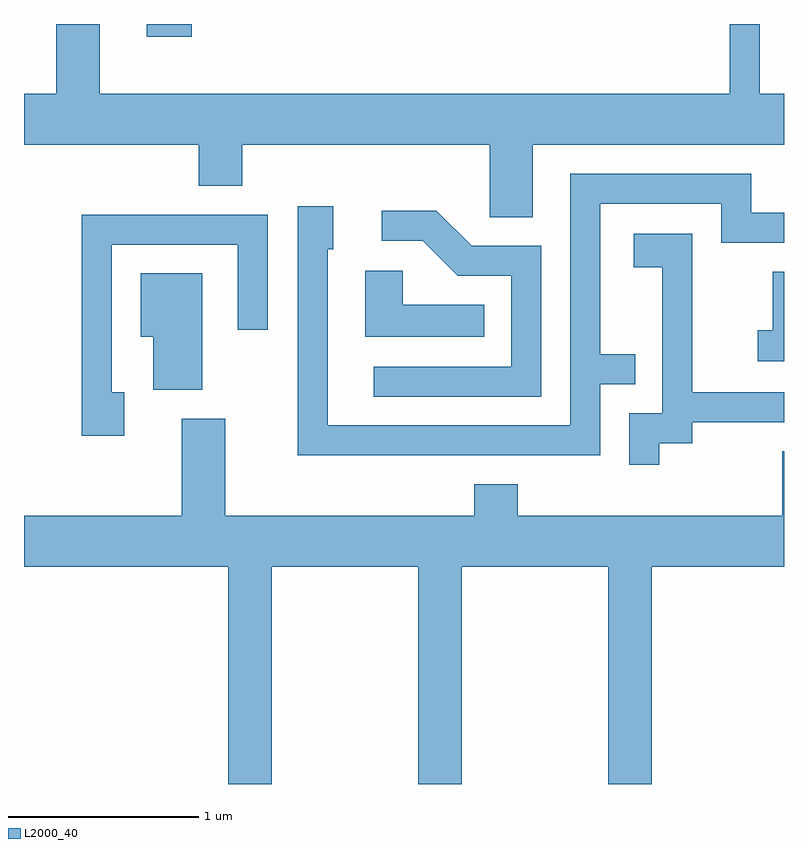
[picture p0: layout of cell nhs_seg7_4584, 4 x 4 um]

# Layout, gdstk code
import gdstk
lib = gdstk.Library(unit=1e-6, precision=1e-09)
def R(c, l, rs):  # rectangles x0, y0, x1, y1
    for r in rs: c.add(gdstk.rectangle(r[:2], r[2:], *l))
def P(c, l, *ps):  # polygons
    for p in ps: c.add(gdstk.Polygon(p, *l))
L2000_40 = (2000, 40)

nhs_seg7_4584 = lib.new_cell('nhs_seg7_4584')
R(nhs_seg7_4584, L2000_40, [(326.256,1748.186,326.494,1748.252)])
P(nhs_seg7_4584, L2000_40, [(328.289,1747.616),(329.611,1747.616),(329.611,1747.884),(329.484,1747.884),(329.484,1748.252),(329.326,1748.252),(329.326,1747.884),(326.009,1747.884),(326.009,1748.252),(325.781,1748.252),(325.781,1747.884),(325.611,1747.884),(325.611,1747.616),(326.531,1747.616),(326.531,1747.401),(326.759,1747.401),(326.759,1747.616),(328.061,1747.616),(328.061,1747.236),(328.289,1747.236)],
  [(328.644,1746.356),(328.828,1746.356),(328.828,1746.514),(328.644,1746.514),(328.644,1747.306),(329.281,1747.306),(329.281,1747.101),(329.611,1747.101),(329.611,1747.259),(329.439,1747.259),(329.439,1747.464),(328.486,1747.464),(328.486,1746.139),(327.209,1746.139),(327.209,1747.066),(327.239,1747.066),(327.239,1747.294),(327.051,1747.294),(327.051,1745.981),(328.644,1745.981)],
  [(328.334,1747.084),(327.967,1747.084),(327.782,1747.269),(327.493,1747.269),(327.493,1747.111),(327.709,1747.111),(327.894,1746.926),(328.176,1746.926),(328.176,1746.449),(327.453,1746.449),(327.453,1746.291),(328.334,1746.291)],
  [(326.139,1746.314),(326.074,1746.314),(326.074,1747.091),(326.736,1747.091),(326.736,1746.643),(326.894,1746.643),(326.894,1747.249),(325.916,1747.249),(325.916,1746.086),(326.139,1746.086)],
  [(328.954,1746.046),(329.129,1746.046),(329.129,1746.156),(329.611,1746.156),(329.611,1746.314),(329.129,1746.314),(329.129,1747.149),(328.821,1747.149),(328.821,1746.971),(328.971,1746.971),(328.971,1746.204),(328.796,1746.204),(328.796,1745.933),(328.954,1745.933)],
  [(328.033,1746.774),(327.604,1746.774),(327.604,1746.954),(327.406,1746.954),(327.406,1746.606),(328.033,1746.606)],
  [(329.611,1746.949),(329.551,1746.949),(329.551,1746.639),(329.473,1746.639),(329.473,1746.476),(329.611,1746.476)],
  [(326.549,1746.939),(326.226,1746.939),(326.226,1746.606),(326.291,1746.606),(326.291,1746.326),(326.549,1746.326)],
  [(326.914,1745.396),(327.686,1745.396),(327.686,1744.252),(327.914,1744.252),(327.914,1745.396),(328.686,1745.396),(328.686,1744.252),(328.914,1744.252),(328.914,1745.396),(329.611,1745.396),(329.611,1746.004),(329.601,1746.004),(329.601,1745.664),(328.209,1745.664),(328.209,1745.829),(327.981,1745.829),(327.981,1745.664),(326.669,1745.664),(326.669,1746.174),(326.441,1746.174),(326.441,1745.664),(325.611,1745.664),(325.611,1745.396),(326.686,1745.396),(326.686,1744.252),(326.914,1744.252)])

lib.write_gds('nhs_seg7_4584.gds')
